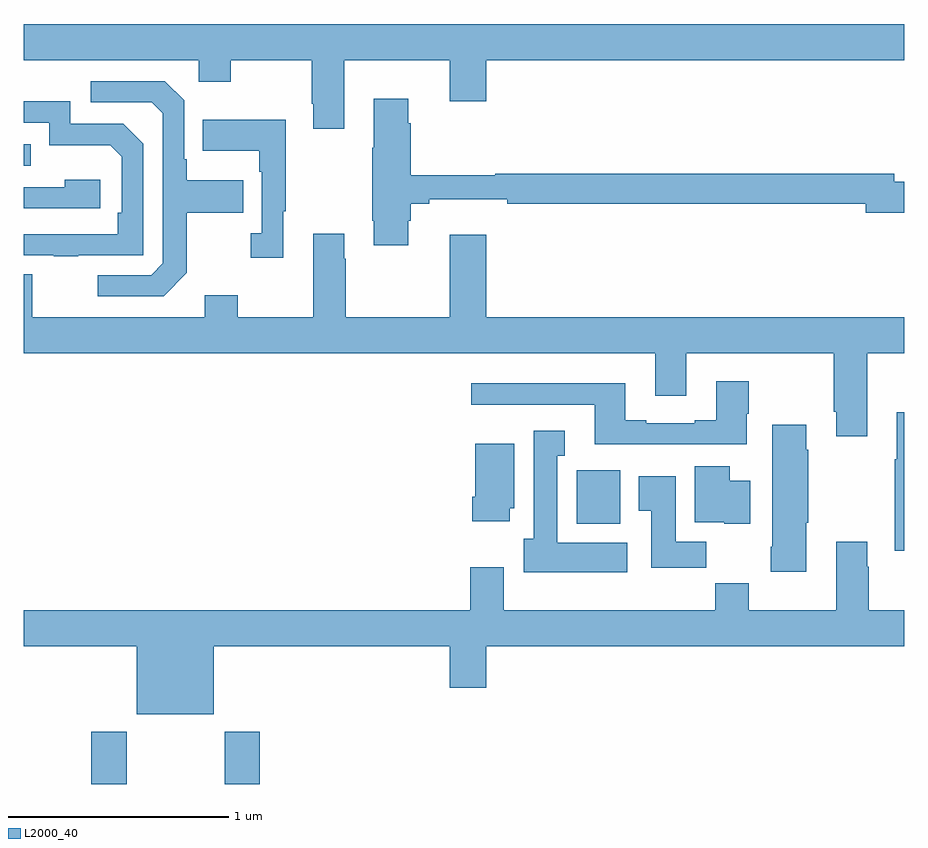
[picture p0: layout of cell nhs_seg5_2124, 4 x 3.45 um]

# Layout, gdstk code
import gdstk
lib = gdstk.Library(unit=1e-6, precision=1e-09)
def R(c, l, rs):  # rectangles x0, y0, x1, y1
    for r in rs: c.add(gdstk.rectangle(r[:2], r[2:], *l))
def P(c, l, *ps):  # polygons
    for p in ps: c.add(gdstk.Polygon(p, *l))
L2000_40 = (2000, 40)

nhs_seg5_2124 = lib.new_cell('nhs_seg5_2124')
R(nhs_seg5_2124, L2000_40, [(235.307,858.799,235.467,859.036), (235.912,858.799,236.072,859.036), (237.512,859.982,237.709,860.224), (235,861.609,235.031,861.705)])
P(nhs_seg5_2124, L2000_40, [(236.455,862.088),(236.936,862.088),(236.936,861.9),(237.1,861.9),(237.1,862.088),(239,862.088),(239,862.252),(235,862.252),(235,862.088),(235.794,862.088),(235.794,861.989),(235.941,861.989),(235.941,862.088),(236.308,862.088),(236.308,861.889),(236.315,861.889),(236.315,861.777),(236.455,861.777)],
  [(235.741,861.121),(235.741,861.394),(235.997,861.394),(235.997,861.541),(235.741,861.541),(235.741,861.637),(235.728,861.637),(235.728,861.906),(235.641,861.993),(235.305,861.993),(235.305,861.897),(235.581,861.897),(235.632,861.846),(235.632,861.165),(235.578,861.111),(235.335,861.111),(235.335,861.015),(235.635,861.015)],
  [(236.746,861.359),(236.759,861.359),(236.759,861.436),(236.842,861.436),(236.842,861.455),(237.196,861.455),(237.196,861.436),(238.826,861.436),(238.826,861.394),(239,861.394),(239,861.536),(238.954,861.536),(238.954,861.572),(237.142,861.572),(237.142,861.565),(236.759,861.565),(236.759,861.8),(236.746,861.8),(236.746,861.913),(236.591,861.913),(236.591,861.689),(236.584,861.689),(236.584,861.358),(236.591,861.358),(236.591,861.246),(236.746,861.246)],
  [(235.247,861.201),(235.542,861.201),(235.542,861.708),(235.452,861.798),(235.212,861.798),(235.212,861.9),(235,861.9),(235,861.804),(235.116,861.804),(235.116,861.701),(235.393,861.701),(235.446,861.648),(235.446,861.394),(235.426,861.394),(235.426,861.297),(235,861.297),(235,861.201),(235.135,861.201),(235.135,861.196),(235.247,861.196)],
  [(236.179,861.401),(236.191,861.401),(236.191,861.817),(235.813,861.817),(235.813,861.677),(236.07,861.677),(236.07,861.581),(236.082,861.581),(236.082,861.302),(236.031,861.302),(236.031,861.189),(236.179,861.189)],
  [(235.348,861.544),(235.187,861.544),(235.187,861.51),(235,861.51),(235,861.414),(235.348,861.414)],
  [(238.831,860.756),(239,860.756),(239,860.92),(237.1,860.92),(237.1,861.295),(236.936,861.295),(236.936,860.92),(236.463,860.92),(236.463,861.185),(236.455,861.185),(236.455,861.298),(236.315,861.298),(236.315,860.92),(235.971,860.92),(235.971,861.019),(235.823,861.019),(235.823,860.92),(235.039,860.92),(235.039,861.115),(235,861.115),(235,860.756),(237.869,860.756),(237.869,860.562),(238.009,860.562),(238.009,860.756),(238.679,860.756),(238.679,860.491),(238.691,860.491),(238.691,860.379),(238.831,860.379)],
  [(237.953,860.343),(238.285,860.343),(238.285,860.481),(238.293,860.481),(238.293,860.629),(238.145,860.629),(238.145,860.452),(238.049,860.452),(238.049,860.439),(237.829,860.439),(237.829,860.452),(237.733,860.452),(237.733,860.62),(237.033,860.62),(237.033,860.523),(237.593,860.523),(237.593,860.342),(237.953,860.342)],
  [(239,860.488),(238.967,860.488),(238.967,860.275),(238.956,860.275),(238.956,859.859),(239,859.859)],
  [(238.555,859.987),(238.563,859.987),(238.563,860.318),(238.555,860.318),(238.555,860.431),(238.4,860.431),(238.4,859.876),(238.393,859.876),(238.393,859.764),(238.555,859.764)],
  [(237.742,859.894),(237.424,859.894),(237.424,860.291),(237.457,860.291),(237.457,860.404),(237.317,860.404),(237.317,859.914),(237.272,859.914),(237.272,859.76),(237.742,859.76)],
  [(237.208,860.052),(237.229,860.052),(237.229,860.344),(237.05,860.344),(237.05,860.104),(237.038,860.104),(237.038,859.992),(237.208,859.992)],
  [(238.3,860.176),(238.207,860.176),(238.207,860.242),(238.049,860.242),(238.049,859.988),(238.182,859.988),(238.182,859.982),(238.3,859.982)],
  [(238.1,859.9),(237.961,859.9),(237.961,860.197),(237.794,860.197),(237.794,860.041),(237.851,860.041),(237.851,859.782),(238.1,859.782)],
  [(235.864,859.424),(236.936,859.424),(236.936,859.236),(237.1,859.236),(237.1,859.424),(239,859.424),(239,859.588),(238.839,859.588),(238.839,859.787),(238.831,859.787),(238.831,859.9),(238.691,859.9),(238.691,859.588),(238.293,859.588),(238.293,859.712),(238.141,859.712),(238.141,859.588),(237.181,859.588),(237.181,859.783),(237.029,859.783),(237.029,859.588),(235,859.588),(235,859.424),(235.514,859.424),(235.514,859.115),(235.864,859.115)])

lib.write_gds('nhs_seg5_2124.gds')
